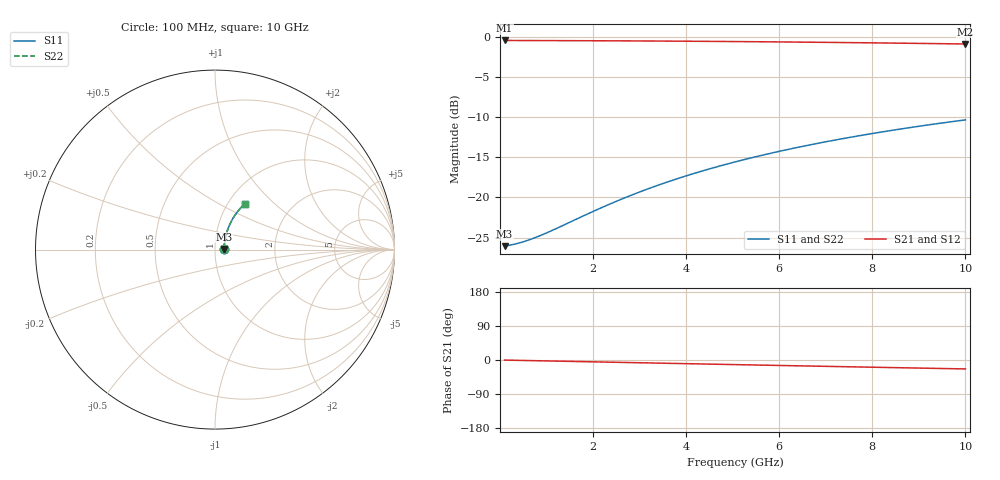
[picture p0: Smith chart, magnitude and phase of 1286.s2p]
# Hz S RI R 50.00
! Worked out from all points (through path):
!   100 points, 100 MHz to 10 GHz, reference 50 ohm
!   highest |S21| = -0.44 dB at 100 MHz (marker M1); lowest = -0.9 dB at 10 GHz (marker M2)
!   group delay of S21, straight-line fit = 6.56 ps
!   lowest |S11| = -26.1 dB at 100 MHz (marker M3), VSWR 1.10, Z = 55.2 + j0.33 ohm
!   |S11| at or under -10 dB: start of sweep to end of sweep
!   |S22| runs from -26.1 to -10.3 dB; largest |S21 - S12| = 0
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1e8  0.0497 0.00298  0.9503 -0.00403  0.9503 -0.00403  0.0497 0.00298
3e8  0.0503 0.00893  0.9497 -0.0121  0.9497 -0.0121  0.0503 0.00893
4e8  0.0506 0.0119  0.9494 -0.0161  0.9494 -0.0161  0.0506 0.0119
5e8  0.0509 0.0149  0.9491 -0.0201  0.9491 -0.0201  0.0509 0.0149
7e8  0.0514 0.0208  0.9486 -0.0282  0.9486 -0.0282  0.0514 0.0208
9e8  0.052 0.0267  0.9479 -0.0362  0.9479 -0.0362  0.052 0.0267
1.1e9  0.0527 0.0326  0.9472 -0.0442  0.9472 -0.0442  0.0527 0.0326
1.8e9  0.0557 0.0531  0.9441 -0.0721  0.9441 -0.0721  0.0557 0.0531
2.2e9  0.058 0.0647  0.9418 -0.0879  0.9418 -0.0879  0.058 0.0647
2.6e9  0.0605 0.0762  0.9391 -0.1036  0.9391 -0.1036  0.0605 0.0762
3e9  0.0635 0.0876  0.936 -0.1193  0.936 -0.1193  0.0635 0.0876
3.4e9  0.0668 0.0989  0.9326 -0.1347  0.9326 -0.1347  0.0668 0.0989
3.8e9  0.0704 0.11  0.9287 -0.1501  0.9287 -0.1501  0.0704 0.11
4.2e9  0.0744 0.121  0.9245 -0.1653  0.9245 -0.1653  0.0744 0.121
4.6e9  0.0788 0.1318  0.92 -0.1803  0.92 -0.1803  0.0788 0.1318
5.1e9  0.0847 0.145  0.9138 -0.1988  0.9138 -0.1988  0.0847 0.145
5.9e9  0.0952 0.1655  0.9028 -0.2278  0.9028 -0.2278  0.0952 0.1655
6.7e9  0.1069 0.1851  0.8905 -0.2559  0.8905 -0.2559  0.1069 0.1851
7.5e9  0.1197 0.2037  0.877 -0.2831  0.877 -0.2831  0.1197 0.2037
8.4e9  0.1354 0.2234  0.8605 -0.3124  0.8605 -0.3124  0.1354 0.2234
9.2e9  0.1503 0.2398  0.8447 -0.3373  0.8447 -0.3373  0.1503 0.2398
1e10  0.1661 0.255  0.8281 -0.3611  0.8281 -0.3611  0.1661 0.255
